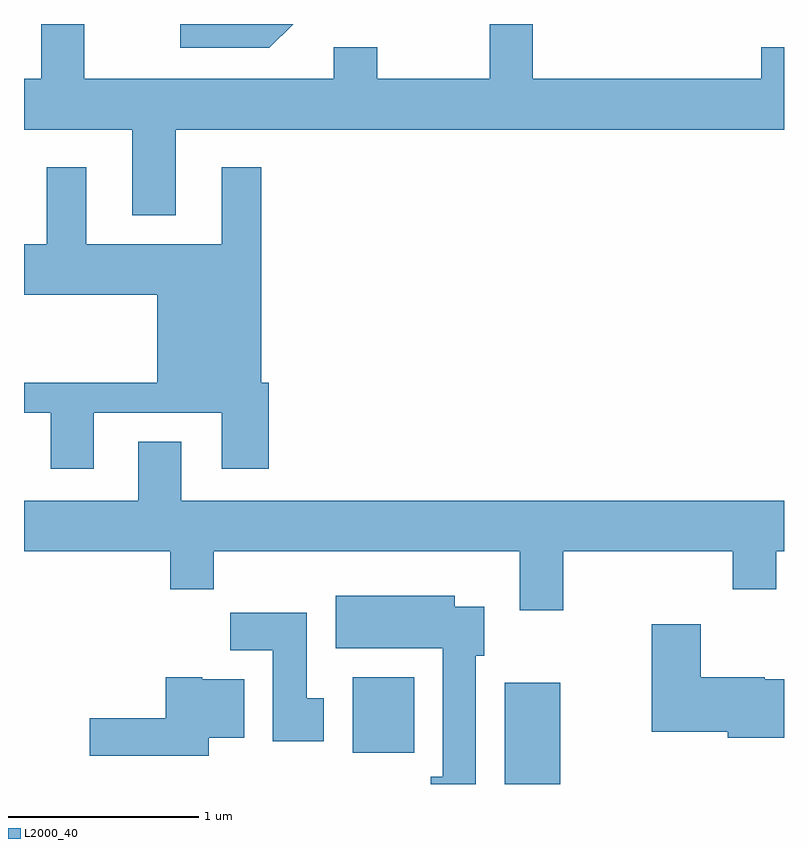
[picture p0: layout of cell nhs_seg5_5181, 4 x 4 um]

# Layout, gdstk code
import gdstk
lib = gdstk.Library(unit=1e-6, precision=1e-09)
def R(c, l, rs):  # rectangles x0, y0, x1, y1
    for r in rs: c.add(gdstk.rectangle(r[:2], r[2:], *l))
def P(c, l, *ps):  # polygons
    for p in ps: c.add(gdstk.Polygon(p, *l))
L2000_40 = (2000, 40)

nhs_seg5_5181 = lib.new_cell('nhs_seg5_5181')
R(nhs_seg5_5181, L2000_40, [(342.141,1400.072,342.434,1400.604), (341.341,1400.236,341.664,1400.634)])
P(nhs_seg5_5181, L2000_40, [(340.409,1403.516),(343.611,1403.516),(343.611,1403.949),(343.491,1403.949),(343.491,1403.784),(342.289,1403.784),(342.289,1404.072),(342.061,1404.072),(342.061,1403.784),(341.469,1403.784),(341.469,1403.949),(341.241,1403.949),(341.241,1403.784),(339.929,1403.784),(339.929,1404.072),(339.701,1404.072),(339.701,1403.784),(339.611,1403.784),(339.611,1403.516),(340.181,1403.516),(340.181,1403.066),(340.409,1403.066)],
  [(341.027,1404.072),(340.433,1404.072),(340.433,1403.946),(340.902,1403.946)],
  [(339.979,1402.026),(340.651,1402.026),(340.651,1401.731),(340.899,1401.731),(340.899,1402.184),(340.859,1402.184),(340.859,1403.319),(340.651,1403.319),(340.651,1402.914),(339.939,1402.914),(339.939,1403.319),(339.731,1403.319),(339.731,1402.914),(339.611,1402.914),(339.611,1402.646),(340.311,1402.646),(340.311,1402.184),(339.611,1402.184),(339.611,1402.026),(339.751,1402.026),(339.751,1401.731),(339.979,1401.731)],
  [(342.449,1401.296),(343.341,1401.296),(343.341,1401.096),(343.569,1401.096),(343.569,1401.296),(343.611,1401.296),(343.611,1401.564),(340.439,1401.564),(340.439,1401.874),(340.211,1401.874),(340.211,1401.564),(339.611,1401.564),(339.611,1401.296),(340.381,1401.296),(340.381,1401.096),(340.609,1401.096),(340.609,1401.296),(342.221,1401.296),(342.221,1400.986),(342.449,1400.986)],
  [(341.989,1400.746),(342.034,1400.746),(342.034,1401.004),(341.879,1401.004),(341.879,1401.064),(341.251,1401.064),(341.251,1400.786),(341.816,1400.786),(341.816,1400.109),(341.753,1400.109),(341.753,1400.072),(341.989,1400.072)],
  [(341.189,1400.524),(341.099,1400.524),(341.099,1400.974),(340.696,1400.974),(340.696,1400.776),(340.921,1400.776),(340.921,1400.296),(341.189,1400.296)],
  [(343.611,1400.624),(343.51,1400.624),(343.51,1400.634),(343.174,1400.634),(343.174,1400.914),(342.916,1400.914),(342.916,1400.346),(343.316,1400.346),(343.316,1400.316),(343.611,1400.316)],
  [(340.584,1400.316),(340.769,1400.316),(340.769,1400.624),(340.55,1400.624),(340.55,1400.634),(340.356,1400.634),(340.356,1400.419),(339.956,1400.419),(339.956,1400.221),(340.584,1400.221)])

lib.write_gds('nhs_seg5_5181.gds')
